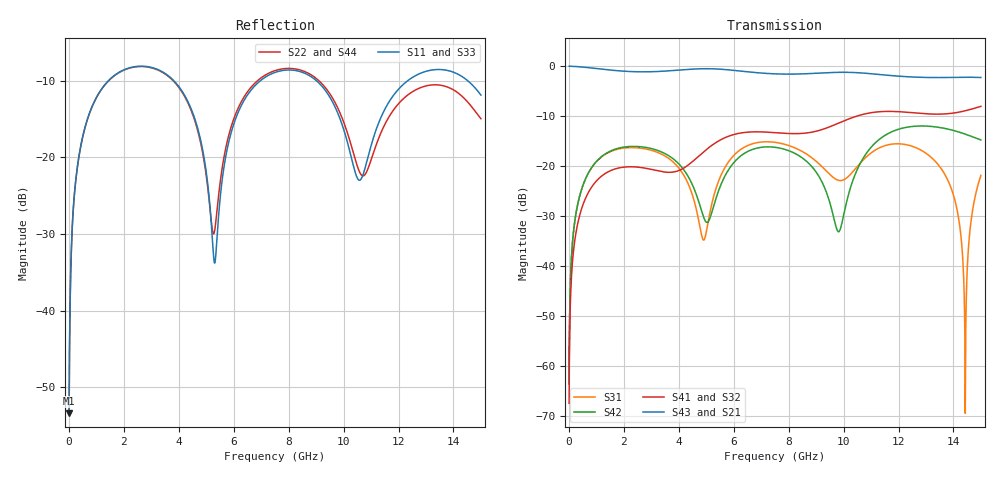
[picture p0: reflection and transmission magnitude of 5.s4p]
! Created with skrf 1.8.0 (http://scikit-rf.org).
# GHz S RI R 50.0
!freq ReS11 ImS11 ReS12 ImS12 ReS13 ImS13
! ReS14 ImS14
! ReS21 ImS21 ReS22 ImS22 ReS23 ImS23
! ReS24 ImS24
! ReS31 ImS31 ReS32 ImS32 ReS33 ImS33
! ReS34 ImS34
! ReS41 ImS41 ReS42 ImS42 ReS43 ImS43
! ReS44 ImS44
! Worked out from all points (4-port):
!   2499 points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, 5 MHz to 15 GHz, reference 50 ohm
!   strongest paths, dB at 5 MHz, 3.476 GHz, 7.19 GHz, 11.1 GHz, 15 GHz:
!     S43: 0.0, -1.0, -1.5, -1.6, -2.3
!     S21: 0.0, -1.0, -1.5, -1.6, -2.3
!     S41: -67.4, -21.2, -13.2, -9.2, -8.1
!     S32: -67.4, -21.3, -13.2, -9.3, -8.0
!     S42: -63.5, -17.4, -16.2, -15.7, -14.8
!     S31: -63.5, -17.9, -15.1, -17.0, -21.9
!   lowest |S11| = -53.4 dB at 5 MHz (marker M1), VSWR 1.00, Z = 50.2 + j0.129 ohm
!   |S11| at or under -10 dB: start of sweep to 1.431 GHz; 3.823 GHz to 6.961 GHz (3.138 GHz wide, 58.2 % of centre); 9.02 GHz to 12.33 GHz (3.307 GHz wide, 31 % of centre) (the widest 3 of 4)
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0.005  0.0017 0.00129  0.9983 -0.0033  8.5e-05 0.000664  -8.27e-05 -0.000418
       0.9983 -0.0033  0.0017 0.00129  -8.27e-05 -0.000418  8.51e-05 0.000664
       8.5e-05 0.000664  -8.27e-05 -0.000418  0.0017 0.00129  0.9983 -0.0033
       -8.27e-05 -0.000418  8.51e-05 0.000664  0.9983 -0.0033  0.0017 0.00129
1.569404  0.2856 0.1724  0.5181 -0.7473  0.1281 0.0607  -0.0914 -0.000997
          0.5181 -0.7473  0.2836 0.1738  -0.0913 -0.00118  0.1343 0.0516
          0.1281 0.0607  -0.0913 -0.00118  0.2858 0.1723  0.5181 -0.7473
          -0.0914 -0.000997  0.1343 0.0516  0.5181 -0.7473  0.2835 0.1739
5.308462  0.0204 9.37e-05  -0.9364 -0.0508  0.0301 0.0454  -0.00273 0.169
          -0.9364 -0.0508  0.0321 0.00952  -0.00589 0.1689  -0.0169 0.0399
          0.0301 0.0454  -0.00589 0.1689  0.0195 -0.00099  -0.9364 -0.0509
          -0.00273 0.169  -0.0169 0.0399  -0.9364 -0.0509  0.0334 0.00828
8.153397  0.3711 -0.019  -0.015 0.8314  0.1195 -0.099  0.204 -0.0548
          -0.015 0.8314  0.3795 -0.0265  0.2042 -0.0486  0.1175 -0.0706
          0.1195 -0.099  0.2042 -0.0486  0.3712 -0.0195  -0.0142 0.8316
          0.204 -0.0548  0.1175 -0.0706  -0.0142 0.8316  0.378 -0.027
13.23051  0.3726 0.0112  0.1854 -0.7467  0.119 -0.0115  -0.331 -0.0153
          0.1854 -0.7467  0.2959 0.0324  -0.3276 -0.0304  0.1678 -0.1837
          0.119 -0.0115  -0.3276 -0.0304  0.3767 0.0112  0.1823 -0.7467
          -0.331 -0.0153  0.1678 -0.1837  0.1823 -0.7467  0.295 0.0339
14.43101  0.2913 -0.1474  -0.3282 -0.7012  0.000324 9.74e-05  -0.3157 0.1682
          -0.3282 -0.7012  0.2323 -0.0583  -0.3237 0.1515  -0.0662 -0.198
          0.000324 9.74e-05  -0.3237 0.1515  0.2942 -0.1479  -0.3309 -0.6989
          -0.3157 0.1682  -0.0662 -0.198  -0.3309 -0.6989  0.2351 -0.0579
15  0.2038 -0.1544  -0.5423 -0.5467  -0.0343 0.0731  -0.2811 0.2787
    -0.5423 -0.5467  0.1754 -0.0358  -0.295 0.2644  -0.1536 -0.0989
    -0.0343 0.0731  -0.295 0.2644  0.2066 -0.1536  -0.5443 -0.5437
    -0.2811 0.2787  -0.1536 -0.0989  -0.5443 -0.5437  0.1793 -0.0384
